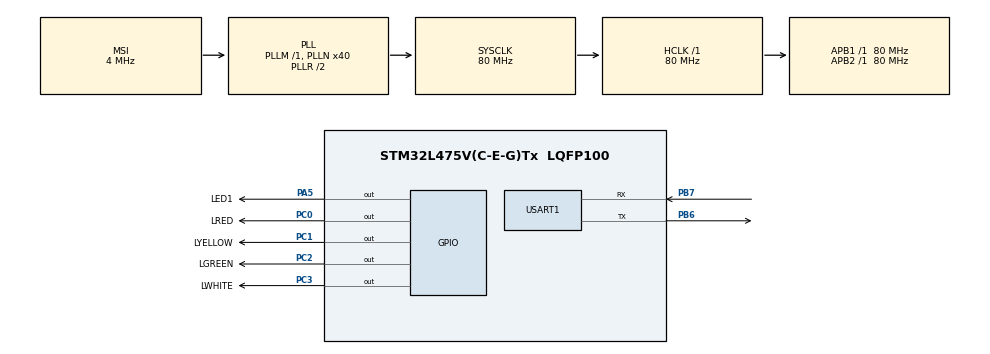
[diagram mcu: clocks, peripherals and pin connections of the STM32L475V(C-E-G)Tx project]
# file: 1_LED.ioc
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Mcu.Family=STM32L4
Mcu.Name=STM32L475V(C-E-G)Tx
Mcu.Package=LQFP100
NVIC.PriorityGroup=NVIC_PRIORITYGROUP_4
PA5.GPIO_Label=LED1
PA5.Signal=GPIO_Output
PB6.Mode=Asynchronous
PB6.Signal=USART1_TX
PB7.Mode=Asynchronous
PB7.Signal=USART1_RX
PC0.GPIO_Label=LRED
PC0.Signal=GPIO_Output
PC1.GPIO_Label=LYELLOW
PC1.Signal=GPIO_Output
PC2.GPIO_Label=LGREEN
PC2.Signal=GPIO_Output
PC3.GPIO_Label=LWHITE
PC3.Signal=GPIO_Output
ProjectManager.HeapSize=0x200
ProjectManager.StackSize=0x400
ProjectManager.TargetToolchain=STM32CubeIDE
RCC.ADCFreq_Value=48000000
RCC.AHBFreq_Value=80000000
RCC.APB1Freq_Value=80000000
RCC.APB1TimFreq_Value=80000000
RCC.APB2Freq_Value=80000000
RCC.APB2TimFreq_Value=80000000
RCC.CortexFreq_Value=80000000
RCC.HCLKFreq_Value=80000000
RCC.HSE_VALUE=8000000
RCC.HSI_VALUE=16000000
RCC.LSE_VALUE=32768
RCC.MSI_VALUE=4000000
RCC.PLLN=40
RCC.PLLSAI1N=24
RCC.SYSCLKFreq_VALUE=80000000
RCC.SYSCLKSource=RCC_SYSCLKSOURCE_PLLCLK
RCC.USBFreq_Value=48000000
RCC.VCOOutputFreq_Value=160000000
USART1.VirtualMode-Asynchronous=VM_ASYNC
board=B-L475E-IOT01A2

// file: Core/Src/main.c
/* USER CODE BEGIN Header */
/**
  ******************************************************************************
  * @file           : main.c
  * @brief          : Main program body
  ******************************************************************************
  * @attention
  *
  * Copyright (c) 2024 STMicroelectronics.
  * All rights reserved.
  *
  * This software is licensed under terms that can be found in the LICENSE file
  * in the root directory of this software component.
  * If no LICENSE file comes with this software, it is provided AS-IS.
  *
  ******************************************************************************
  */
/* USER CODE END Header */
#include "main.h"

UART_HandleTypeDef huart1;

/* USER CODE BEGIN PV */

uint8_t s[200] = {'\0'};
const char inputs[] = {'a', 'a', 'a', 'a', 'b', 'b', 'c'};
int ninputs = sizeof(inputs) / sizeof(inputs[0]);

/* USER CODE END PV */

void SystemClock_Config(void);
static void MX_GPIO_Init(void);
static void MX_USART1_UART_Init(void);

/* USER CODE BEGIN 0 */
char next()
{
	static int i = 0;
	if(i >= ninputs)
		return 'x';
	return inputs[i++];
}

/*
 * Computes next state. Returns the following
 *   >=0 : the next state
 *   -1  : input sequence not legal
 *   -2  : we're in final state
 *   -3  : internal error
 */

// machine state
int mfn(int currState, char input)
{
    sprintf((char*)s, "   Current state is: S" << currState << " |");
    sprintf((char*)s, " Next input word is: ");
	switch(currState)
	{
		case 0:
			switch(input)
			{
				case 'a': sprintf((char*)s,"a/4\n");
				HAL_UART_Transmit(&huart1, s, sizeof(s), 100);
				memset(s ,0, sizeof(s));break;
				case 'b': sprintf((char*)s, "b/2\n");
				HAL_UART_Transmit(&huart1, s, sizeof(s), 100);
				memset(s ,0, sizeof(s));break;
				case 'c': sprintf((char*)s, "c/9\n");
				HAL_UART_Transmit(&huart1, s, sizeof(s), 100);
				memset(s ,0, sizeof(s));break;
				default:  break;
			}
			break;

		case 1:
			switch(input)
			{
				case 'a': break;
				case 'b': sprintf((char*)s, "b/1\n");
				HAL_UART_Transmit(&huart1, s, sizeof(s), 100);
				memset(s ,0, sizeof(s));break;
				case 'c': sprintf((char*)s, "c/6\n");
				HAL_UART_Transmit(&huart1, s, sizeof(s), 100);
				memset(s ,0, sizeof(s));break;
				default:  break;
			}
			break;

		case 2:
			switch(input)
			{
				case 'a': sprintf((char*)s,"a/5\n");
				HAL_UART_Transmit(&huart1, s, sizeof(s), 100);
				memset(s ,0, sizeof(s));break;
				case 'b': break;
				case 'c': break;
				default: break;
			}
			break;

		case 3:
			return -2;

		default:
			return -3;
	}

	// If we're here, it's an error
	return -1;
}

// state machine output
int sfn(int currState, char input)
{
	switch(currState)
	{
		case 0:
			switch(input)
			{
				case 'a': return 2;
				// imposta led
				case 'b': return 1;
				// imposta led
				case 'c': return 3;
				// imposta led
				default:  break;
			}
			break;

		case 1:
			switch(input)
			{
				case 'a': break;
				case 'b': return 1;
				// imposta led
				case 'c': return 3;
				// imposta led
				default:  break;
			}
			break;

		case 2:
			switch(input)
			{
				case 'a': return 0;
				// imposta led
				case 'b': break;
				case 'c': break;
				default: break;
			}
			break;

		case 3:
			return -2;

		default:
			return -3;
	}

	// If we're here, it's an error
	return -1;
}

bool isFinalState(int s)
{
	return s == 3;
}

/* USER CODE END 0 */

int main(void)
{

  /* MCU Configuration--------------------------------------------------------*/

  /* Reset of all peripherals, Initializes the Flash interface and the Systick. */
  HAL_Init();

  /* Configure the system clock */
  SystemClock_Config();

  /* Initialize all configured peripherals */
  MX_GPIO_Init();
  MX_USART1_UART_Init();
  /* USER CODE BEGIN 2 */

  sprintf((char*)s,"Inizializzazione e Caricamento dati...\r\n\r\n");
  HAL_UART_Transmit(&huart1, s, sizeof(s), 100);
  memset(s ,0, sizeof(s));
  HAL_Delay(100);

  cout << "Inputs size is " << ninputs << endl;
	int currState = 0;
    int state = -1;
	char c;

	while(1)
	{
		// Get next input
		c = next();

		// We ran out of inputs, and
		if(c == 'x')
		{
			if(!isFinalState(currState))
				goto error;
			// This should never happen, if our algo works well
			else
				break;
		}

		mfn(currState, c);
		state = sfn(currState, c);

		// Check for errors
		if(state < 0)
			goto error;

		cout << "Moving to state S" << state << endl;

		if(isFinalState(state))
			break;

		// Update curr state
		currState = state;
	}

	cout << "Input sequence is legal for our Language" << endl;
	return 0;

error:
	cout << "ERROR!" << endl;
	cout << "Input " << c << " not legal for state " << currState << endl;
	cout << "Error code is " << state << endl;
	return state;

  /* USER CODE END 2 */

  /* Infinite loop */
  while (1)
  {

  }
}

void SystemClock_Config(void)
{
  RCC_OscInitTypeDef RCC_OscInitStruct = {0};
  RCC_ClkInitTypeDef RCC_ClkInitStruct = {0};

  /** Configure the main internal regulator output voltage
  */
  if (HAL_PWREx_ControlVoltageScaling(PWR_REGULATOR_VOLTAGE_SCALE1) != HAL_OK)
  {
    Error_Handler();
  }

  /** Initializes the RCC Oscillators according to the specified parameters
  * in the RCC_OscInitTypeDef structure.
  */
  RCC_OscInitStruct.OscillatorType = RCC_OSCILLATORTYPE_MSI;
  RCC_OscInitStruct.MSIState = RCC_MSI_ON;
  RCC_OscInitStruct.MSICalibrationValue = 0;
  RCC_OscInitStruct.MSIClockRange = RCC_MSIRANGE_6;
  RCC_OscInitStruct.PLL.PLLState = RCC_PLL_ON;
  RCC_OscInitStruct.PLL.PLLSource = RCC_PLLSOURCE_MSI;
  RCC_OscInitStruct.PLL.PLLM = 1;
  RCC_OscInitStruct.PLL.PLLN = 40;
  RCC_OscInitStruct.PLL.PLLP = RCC_PLLP_DIV7;
  RCC_OscInitStruct.PLL.PLLQ = RCC_PLLQ_DIV2;
  RCC_OscInitStruct.PLL.PLLR = RCC_PLLR_DIV2;
  if (HAL_RCC_OscConfig(&RCC_OscInitStruct) != HAL_OK)
  {
    Error_Handler();
  }

  /** Initializes the CPU, AHB and APB buses clocks
  */
  RCC_ClkInitStruct.ClockType = RCC_CLOCKTYPE_HCLK|RCC_CLOCKTYPE_SYSCLK
                              |RCC_CLOCKTYPE_PCLK1|RCC_CLOCKTYPE_PCLK2;
  RCC_ClkInitStruct.SYSCLKSource = RCC_SYSCLKSOURCE_PLLCLK;
  RCC_ClkInitStruct.AHBCLKDivider = RCC_SYSCLK_DIV1;
  RCC_ClkInitStruct.APB1CLKDivider = RCC_HCLK_DIV1;
  RCC_ClkInitStruct.APB2CLKDivider = RCC_HCLK_DIV1;

  if (HAL_RCC_ClockConfig(&RCC_ClkInitStruct, FLASH_LATENCY_4) != HAL_OK)
  {
    Error_Handler();
  }
}

static void MX_USART1_UART_Init(void)
{

  huart1.Instance = USART1;
  huart1.Init.BaudRate = 115200;
  huart1.Init.WordLength = UART_WORDLENGTH_8B;
  huart1.Init.StopBits = UART_STOPBITS_1;
  huart1.Init.Parity = UART_PARITY_NONE;
  huart1.Init.Mode = UART_MODE_TX_RX;
  huart1.Init.HwFlowCtl = UART_HWCONTROL_NONE;
  huart1.Init.OverSampling = UART_OVERSAMPLING_16;
  huart1.Init.OneBitSampling = UART_ONE_BIT_SAMPLE_DISABLE;
  huart1.AdvancedInit.AdvFeatureInit = UART_ADVFEATURE_NO_INIT;
  if (HAL_UART_Init(&huart1) != HAL_OK)
  {
    Error_Handler();
  }

}

static void MX_GPIO_Init(void)
{
  GPIO_InitTypeDef GPIO_InitStruct = {0};

  /* GPIO Ports Clock Enable */
  __HAL_RCC_GPIOC_CLK_ENABLE();
  __HAL_RCC_GPIOA_CLK_ENABLE();
  __HAL_RCC_GPIOB_CLK_ENABLE();

  /*Configure GPIO pin Output Level */
  HAL_GPIO_WritePin(GPIOC, LRED_Pin|LYELLOW_Pin|LGREEN_Pin|LWHITE_Pin, GPIO_PIN_RESET);

  /*Configure GPIO pin Output Level */
  HAL_GPIO_WritePin(LED1_GPIO_Port, LED1_Pin, GPIO_PIN_RESET);

  /*Configure GPIO pins : LRED_Pin LYELLOW_Pin LGREEN_Pin LWHITE_Pin */
  GPIO_InitStruct.Pin = LRED_Pin|LYELLOW_Pin|LGREEN_Pin|LWHITE_Pin;
  GPIO_InitStruct.Mode = GPIO_MODE_OUTPUT_PP;
  GPIO_InitStruct.Pull = GPIO_NOPULL;
  GPIO_InitStruct.Speed = GPIO_SPEED_FREQ_LOW;
  HAL_GPIO_Init(GPIOC, &GPIO_InitStruct);

  /*Configure GPIO pin : LED1_Pin */
  GPIO_InitStruct.Pin = LED1_Pin;
  GPIO_InitStruct.Mode = GPIO_MODE_OUTPUT_PP;
  GPIO_InitStruct.Pull = GPIO_NOPULL;
  GPIO_InitStruct.Speed = GPIO_SPEED_FREQ_LOW;
  HAL_GPIO_Init(LED1_GPIO_Port, &GPIO_InitStruct);

}

void Error_Handler(void)
{
  __disable_irq();
  while (1)
  {
  }
}
